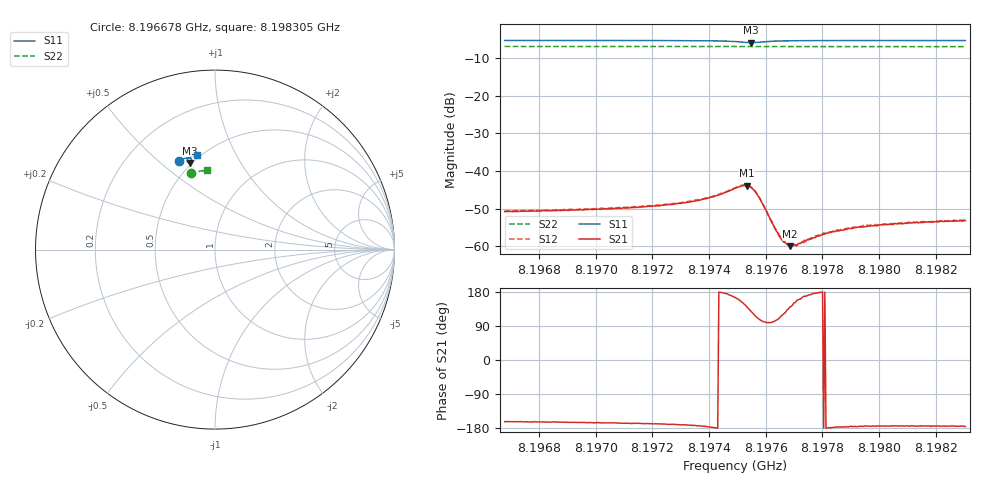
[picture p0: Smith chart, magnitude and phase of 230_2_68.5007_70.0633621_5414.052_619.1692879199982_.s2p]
#  HZ  S  RI  R  50.00
! Rohde & Schwarz Vector Network Analyzer
! Rohde-Schwarz,ZNB20-2Port,1311601062101988,3.16
! Created: UTC 3/20/2024, 5:14:01 PM
! freq[Hz]  re:S11  im:S11  re:S21  im:S21  re:S12  im:S12  re:S22  im:S22
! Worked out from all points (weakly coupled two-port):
!   401 points, 8.196678 GHz to 8.198305 GHz, reference 50 ohm
!   highest |S21| = -43.87 dB at 8.197532 GHz (marker M1); lowest = -59.9 dB at 8.197687 GHz (marker M2)
!   lowest |S11| = -6.0 dB at 8.197549 GHz (marker M3), VSWR 3.02, Z = 24.5 + j31.6 ohm
!   |S11| at or under -10 dB: nowhere
!   |S22| runs from -7.1 to -7.0 dB; largest |S21 - S12| = 0.00032
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8.1966782e9  -0.2033 0.4961  -0.00277 -0.000855  -0.00287 -0.000799  -0.1359 0.4256
8.1969507e9  -0.1843 0.5032  -0.00296 -0.000802  -0.00303 -0.000703  -0.1211 0.4297
8.1972232e9  -0.1632 0.5093  -0.0034 -0.000683  -0.00354 -0.000558  -0.106 0.433
8.1973737e9  -0.1486 0.5113  -0.00417 -0.000436  -0.00426 -0.000281  -0.0977 0.4347
8.1974387e9  -0.1396 0.5096  -0.00489 9.7e-05  -0.00499 0.00031  -0.0941 0.4354
8.1974916e9  -0.1307 0.5022  -0.0057 0.00152  -0.00575 0.00175  -0.0909 0.4356
8.1975119e9  -0.1289 0.4954  -0.00572 0.00266  -0.00571 0.00291  -0.0898 0.4356
8.1975323e9  -0.1316 0.4872  -0.005 0.00401  -0.00492 0.00426  -0.0888 0.4356
8.1975485e9  -0.1383 0.4825  -0.0037 0.00472  -0.00362 0.00498  -0.0881 0.4357
8.1975607e9  -0.1447 0.4823  -0.00258 0.00478  -0.00246 0.00499  -0.0875 0.4358
8.197577e9  -0.1514 0.4858  -0.00133 0.00424  -0.00119 0.00436  -0.0868 0.4361
8.1976339e9  -0.1541 0.5028  -0.000404 0.00164  -0.000321 0.00172  -0.0838 0.437
8.1976543e9  -0.152 0.5063  -0.000558 0.00114  -0.000481 0.00123  -0.0826 0.4372
8.1976705e9  -0.1503 0.5084  -0.000662 0.000888  -0.000656 0.000915  -0.0817 0.4376
8.1976868e9  -0.1484 0.5102  -0.00078 0.000641  -0.000765 0.00071  -0.0808 0.4377
8.1977112e9  -0.1455 0.5121  -0.000966 0.000395  -0.00094 0.000487  -0.0794 0.4378
8.1977641e9  -0.1402 0.5151  -0.00128 0.000109  -0.00129 0.000206  -0.0764 0.4383
8.1978129e9  -0.1356 0.5168  -0.00149 -6.35e-06  -0.00151 8.42e-05  -0.0736 0.4388
8.1978901e9  -0.1291 0.5189  -0.00174 -8.98e-05  -0.00174 -2.75e-05  -0.0693 0.4394
8.1979511e9  -0.124 0.5203  -0.00182 -0.000189  -0.00187 -0.000113  -0.0658 0.44
8.1980365e9  -0.1174 0.522  -0.00195 -0.000179  -0.00198 -0.000154  -0.061 0.4404
8.198305e9  -0.0975 0.5259  -0.00219 -0.000162  -0.00221 -0.000117  -0.0459 0.4417
